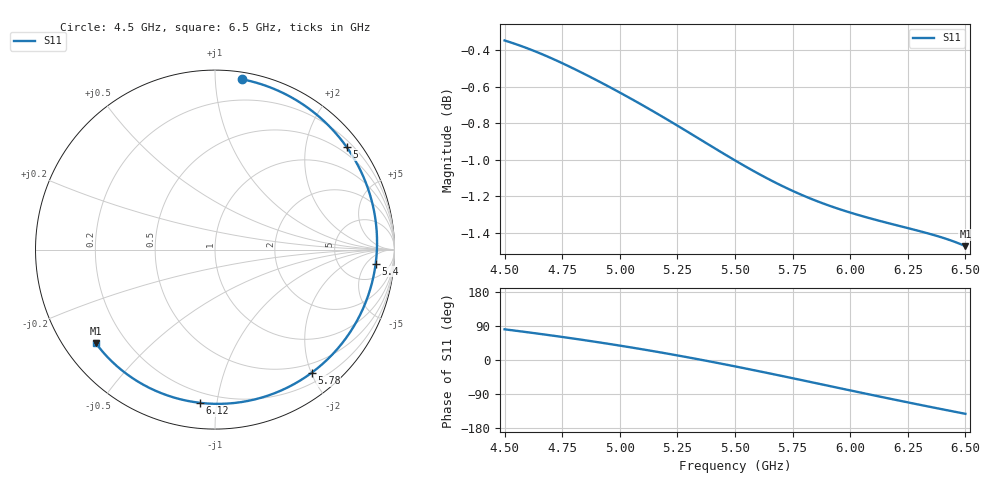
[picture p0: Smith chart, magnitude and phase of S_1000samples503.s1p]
! TOUCHSTONE file generated by CST MICROWAVE STUDIO
! Date and time: Fri Oct 28 09:37:34 2022
! Project name: L.cst
! Parameters = {Di=1.27; Epsilon_r=1.56; InnerDiameter=1.27; Length=2; Lf=10; Lg=60; OuterConductorThickness=0.2921; OuterDiameter=3.6; Wf=3; Wp=41.2; de=1.5; df=6.8; g=0.8; gx=3.75624; gy=1.14374; h=2.34; hf=1.524; px=8.0006; py=9.36392; w=9.7; wx=4.24436; wy=8.22018}
! Header version: 2018
! Port assignment regex: !\s*Touchstone port\s*([0-9]+)\s*=\s*(CST MWS port|CST DS port)\s*([0-9]+|Zmin|Zmax)\s*\(\"(.*)\"\)(\s*mode\s*([0-9]+))?.*
! Touchstone port assignment:
! Touchstone port 1 = CST MWS port 1 ("")
# GHz S DB R 50
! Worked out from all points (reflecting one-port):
!   101 points, 4.5 GHz to 6.5 GHz, reference 50 ohm
!   lowest |S11| = -1.5 dB at 6.5 GHz (marker M1), VSWR 11.83, Z = 4.73 - j17.1 ohm
!   phase of S11 starts at 81 deg and turns -223 deg over the sweep
!   S11 on the Smith chart (normalised r, x): 4.5 GHz: 0.05, +1.17; 5 GHz: 0.34, +2.87; 5.4 GHz: 11, -9; 5.78 GHz: 0.35, -2.01; 6.12 GHz: 0.14, -0.90; 6.5 GHz: 0.09, -0.34
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4.5  -0.35 81.0
4.64  -0.41 70.0
4.76  -0.48 59.9
4.88  -0.55 49.3
5  -0.63 38.0
5.08  -0.69 30.0
5.14  -0.73 23.9
5.2  -0.78 17.5
5.26  -0.82 11.0
5.34  -0.88 2.0
5.4  -0.93 -4.9
5.5  -1.00 -16.9
5.56  -1.05 -24.2
5.62  -1.09 -31.6
5.68  -1.13 -39.2
5.76  -1.18 -49.3
5.78  -1.19 -51.9
5.84  -1.22 -59.6
5.9  -1.25 -67.3
6  -1.29 -80.2
6.06  -1.31 -87.9
6.12  -1.33 -95.5
6.18  -1.35 -103.1
6.26  -1.38 -113.0
6.32  -1.40 -120.4
6.38  -1.42 -127.7
6.44  -1.44 -134.9
6.5  -1.47 -142.0
